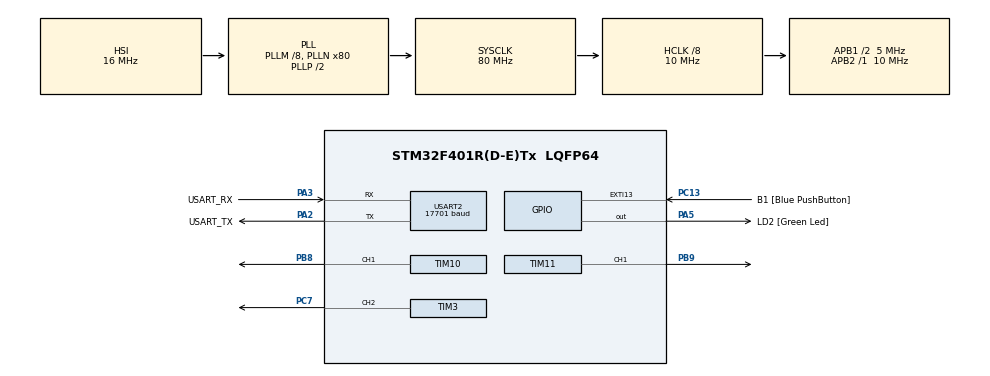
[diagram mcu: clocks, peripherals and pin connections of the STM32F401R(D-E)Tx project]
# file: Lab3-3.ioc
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Mcu.Family=STM32F4
Mcu.Name=STM32F401R(D-E)Tx
Mcu.Package=LQFP64
NVIC.EXTI15_10_IRQn=true\:0\:0\:true\:false\:true\:true\:true\:true
NVIC.PriorityGroup=NVIC_PRIORITYGROUP_0
NVIC.TIM1_TRG_COM_TIM11_IRQn=true\:0\:0\:false\:false\:true\:true\:true\:true
NVIC.TIM1_UP_TIM10_IRQn=true\:0\:0\:false\:false\:true\:true\:true\:true
NVIC.TIM3_IRQn=true\:0\:0\:true\:false\:true\:true\:true\:true
NVIC.USART2_IRQn=true\:0\:0\:true\:false\:true\:true\:true\:true
PA0-WKUP.Signal=S_TIM5_CH1
PA13.GPIO_Label=TMS
PA13.Mode=Serial_Wire
PA13.Signal=SYS_JTMS-SWDIO
PA14.GPIO_Label=TCK
PA14.Mode=Serial_Wire
PA14.Signal=SYS_JTCK-SWCLK
PA2.GPIO_Label=USART_TX
PA2.GPIO_Mode=GPIO_MODE_AF_PP
PA2.GPIO_PuPd=GPIO_NOPULL
PA2.GPIO_Speed=GPIO_SPEED_FREQ_LOW
PA2.Mode=Asynchronous
PA2.Signal=USART2_TX
PA3.GPIO_Label=USART_RX
PA3.GPIO_Mode=GPIO_MODE_AF_PP
PA3.GPIO_PuPd=GPIO_NOPULL
PA3.GPIO_Speed=GPIO_SPEED_FREQ_LOW
PA3.Mode=Asynchronous
PA3.Signal=USART2_RX
PA5.GPIO_Label=LD2 [Green Led]
PA5.GPIO_Mode=GPIO_MODE_OUTPUT_PP
PA5.GPIO_PuPd=GPIO_NOPULL
PA5.GPIO_Speed=GPIO_SPEED_FREQ_LOW
PA5.Signal=GPIO_Output
PB10.Signal=S_TIM2_CH3
PB3.GPIO_Label=SWO
PB3.Signal=SYS_JTDO-SWO
PB6.Signal=S_TIM4_CH1
PB8.Signal=S_TIM10_CH1
PB9.Signal=S_TIM11_CH1
PC13-ANTI_TAMP.GPIO_Label=B1 [Blue PushButton]
PC13-ANTI_TAMP.GPIO_ModeDefaultEXTI=GPIO_MODE_IT_FALLING
PC13-ANTI_TAMP.GPIO_PuPd=GPIO_NOPULL
PC13-ANTI_TAMP.Signal=GPXTI13
PC14-OSC32_IN.Mode=LSE-External-Oscillator
PC14-OSC32_IN.Signal=RCC_OSC32_IN
PC15-OSC32_OUT.Mode=LSE-External-Oscillator
PC15-OSC32_OUT.Signal=RCC_OSC32_OUT
PC7.Signal=S_TIM3_CH2
PH0\ -\ OSC_IN.Mode=HSE-External-Clock-Source
PH0\ -\ OSC_IN.Signal=RCC_OSC_IN
PH1\ -\ OSC_OUT.Mode=HSE-External-Clock-Source
PH1\ -\ OSC_OUT.Signal=RCC_OSC_OUT
ProjectManager.HeapSize=0x200
ProjectManager.StackSize=0x400
ProjectManager.TargetToolchain=STM32CubeIDE
RCC.48MHZClocksFreq_Value=22857142.85714286
RCC.AHBCLKDivider=RCC_SYSCLK_DIV8
RCC.AHBFreq_Value=10000000
RCC.APB1CLKDivider=RCC_HCLK_DIV2
RCC.APB1Freq_Value=5000000
RCC.APB1TimFreq_Value=10000000
RCC.APB2Freq_Value=10000000
RCC.APB2TimFreq_Value=10000000
RCC.CortexFreq_Value=10000000
RCC.HCLKFreq_Value=10000000
RCC.HSE_VALUE=8000000
RCC.HSI_VALUE=16000000
RCC.PLLM=8
RCC.PLLN=80
RCC.PLLQ=7
RCC.SYSCLKFreq_VALUE=80000000
RCC.SYSCLKSource=RCC_SYSCLKSOURCE_PLLCLK
RCC.VCOOutputFreq_Value=160000000
SH.S_TIM10_CH1.0=TIM10_CH1,Output Compare1 CH1
SH.S_TIM11_CH1.0=TIM11_CH1,Output Compare1 CH1
SH.S_TIM2_CH3.0=TIM2_CH3
SH.S_TIM3_CH2.0=TIM3_CH2,Output Compare2 CH2
SH.S_TIM4_CH1.0=TIM4_CH1
SH.S_TIM5_CH1.0=TIM5_CH1
TIM10.Channel=TIM_CHANNEL_1
TIM10.Period=9999
TIM10.Prescaler=999
TIM11.Channel=TIM_CHANNEL_1
TIM11.Period=4905
TIM11.Prescaler=999
TIM3.Channel-Output\ Compare2\ CH2=TIM_CHANNEL_2
TIM3.Period=5000
TIM3.Prescaler=1000-1
USART2.BaudRate=17701
USART2.VirtualMode=VM_ASYNC
VP_TIM10_VS_ClockSourceINT.Mode=Enable_Timer
VP_TIM11_VS_ClockSourceINT.Mode=Enable_Timer
VP_TIM3_VS_ClockSourceINT.Mode=Internal
board=NUCLEO-F401RE

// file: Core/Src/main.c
/* USER CODE BEGIN Header */
/**
  ******************************************************************************
  * @file           : main.c
  * @brief          : Main program body
  ******************************************************************************
  * @attention
  *
  * Copyright (c) 2024 STMicroelectronics.
  * All rights reserved.
  *
  * This software is licensed under terms that can be found in the LICENSE file
  * in the root directory of this software component.
  * If no LICENSE file comes with this software, it is provided AS-IS.
  *
  ******************************************************************************
  */
/* USER CODE END Header */
#include "main.h"

TIM_HandleTypeDef htim3;
TIM_HandleTypeDef htim10;
TIM_HandleTypeDef htim11;

UART_HandleTypeDef huart2;

void SystemClock_Config(void);
static void MX_GPIO_Init(void);
static void MX_USART2_UART_Init(void);
static void MX_TIM3_Init(void);
static void MX_TIM10_Init(void);
static void MX_TIM11_Init(void);

/* USER CODE BEGIN 0 */

int internalCount = 0;
int externalCount = 0;

void HAL_TIM_PeriodElapsedCallback(TIM_HandleTypeDef* htim) {
	if (htim == &htim3) {
		HAL_GPIO_TogglePin(GPIOA, GPIO_PIN_5);
		internalCount += 1;
	}
	else if (htim == &htim11) {
		HAL_GPIO_TogglePin(GPIOA, GPIO_PIN_13);
		externalCount += 1;
	}
	else if (htim == &htim10) {
		int currentTime = HAL_GetTick();
		  char buf[100];
		  sprintf(buf, "%d %d %d \r\n", currentTime, internalCount, externalCount);
		  HAL_UART_Transmit (&huart2, buf, strlen(buf), 10);
	}
}

/* USER CODE END 0 */

int main(void)
{

  /* MCU Configuration--------------------------------------------------------*/

  /* Reset of all peripherals, Initializes the Flash interface and the Systick. */
  HAL_Init();

  /* Configure the system clock */
  SystemClock_Config();

  /* Initialize all configured peripherals */
  MX_GPIO_Init();
  MX_USART2_UART_Init();
  MX_TIM3_Init();
  MX_TIM10_Init();
  MX_TIM11_Init();
  /* USER CODE BEGIN 2 */
  HAL_TIM_Base_Start_IT(&htim3);
  HAL_TIM_Base_Start_IT(&htim10);
  HAL_TIM_Base_Start_IT(&htim11);

  /* USER CODE END 2 */

  /* Infinite loop */
  while (1)
  {

  }
}

void SystemClock_Config(void)
{
  RCC_OscInitTypeDef RCC_OscInitStruct = {0};
  RCC_ClkInitTypeDef RCC_ClkInitStruct = {0};

  /** Configure the main internal regulator output voltage
  */
  __HAL_RCC_PWR_CLK_ENABLE();
  __HAL_PWR_VOLTAGESCALING_CONFIG(PWR_REGULATOR_VOLTAGE_SCALE2);

  /** Initializes the RCC Oscillators according to the specified parameters
  * in the RCC_OscInitTypeDef structure.
  */
  RCC_OscInitStruct.OscillatorType = RCC_OSCILLATORTYPE_HSI;
  RCC_OscInitStruct.HSIState = RCC_HSI_ON;
  RCC_OscInitStruct.HSICalibrationValue = RCC_HSICALIBRATION_DEFAULT;
  RCC_OscInitStruct.PLL.PLLState = RCC_PLL_ON;
  RCC_OscInitStruct.PLL.PLLSource = RCC_PLLSOURCE_HSI;
  RCC_OscInitStruct.PLL.PLLM = 8;
  RCC_OscInitStruct.PLL.PLLN = 80;
  RCC_OscInitStruct.PLL.PLLP = RCC_PLLP_DIV2;
  RCC_OscInitStruct.PLL.PLLQ = 7;
  if (HAL_RCC_OscConfig(&RCC_OscInitStruct) != HAL_OK)
  {
    Error_Handler();
  }

  /** Initializes the CPU, AHB and APB buses clocks
  */
  RCC_ClkInitStruct.ClockType = RCC_CLOCKTYPE_HCLK|RCC_CLOCKTYPE_SYSCLK
                              |RCC_CLOCKTYPE_PCLK1|RCC_CLOCKTYPE_PCLK2;
  RCC_ClkInitStruct.SYSCLKSource = RCC_SYSCLKSOURCE_PLLCLK;
  RCC_ClkInitStruct.AHBCLKDivider = RCC_SYSCLK_DIV8;
  RCC_ClkInitStruct.APB1CLKDivider = RCC_HCLK_DIV2;
  RCC_ClkInitStruct.APB2CLKDivider = RCC_HCLK_DIV1;

  if (HAL_RCC_ClockConfig(&RCC_ClkInitStruct, FLASH_LATENCY_0) != HAL_OK)
  {
    Error_Handler();
  }
}

static void MX_TIM3_Init(void)
{

  TIM_ClockConfigTypeDef sClockSourceConfig = {0};
  TIM_MasterConfigTypeDef sMasterConfig = {0};
  TIM_OC_InitTypeDef sConfigOC = {0};

  htim3.Instance = TIM3;
  htim3.Init.Prescaler = 1000-1;
  htim3.Init.CounterMode = TIM_COUNTERMODE_UP;
  htim3.Init.Period = 5000;
  htim3.Init.ClockDivision = TIM_CLOCKDIVISION_DIV1;
  htim3.Init.AutoReloadPreload = TIM_AUTORELOAD_PRELOAD_DISABLE;
  if (HAL_TIM_Base_Init(&htim3) != HAL_OK)
  {
    Error_Handler();
  }
  sClockSourceConfig.ClockSource = TIM_CLOCKSOURCE_INTERNAL;
  if (HAL_TIM_ConfigClockSource(&htim3, &sClockSourceConfig) != HAL_OK)
  {
    Error_Handler();
  }
  if (HAL_TIM_OC_Init(&htim3) != HAL_OK)
  {
    Error_Handler();
  }
  sMasterConfig.MasterOutputTrigger = TIM_TRGO_RESET;
  sMasterConfig.MasterSlaveMode = TIM_MASTERSLAVEMODE_DISABLE;
  if (HAL_TIMEx_MasterConfigSynchronization(&htim3, &sMasterConfig) != HAL_OK)
  {
    Error_Handler();
  }
  sConfigOC.OCMode = TIM_OCMODE_TIMING;
  sConfigOC.Pulse = 0;
  sConfigOC.OCPolarity = TIM_OCPOLARITY_HIGH;
  sConfigOC.OCFastMode = TIM_OCFAST_DISABLE;
  if (HAL_TIM_OC_ConfigChannel(&htim3, &sConfigOC, TIM_CHANNEL_2) != HAL_OK)
  {
    Error_Handler();
  }
  HAL_TIM_MspPostInit(&htim3);

}

static void MX_TIM10_Init(void)
{

  TIM_OC_InitTypeDef sConfigOC = {0};

  htim10.Instance = TIM10;
  htim10.Init.Prescaler = 999;
  htim10.Init.CounterMode = TIM_COUNTERMODE_UP;
  htim10.Init.Period = 9999;
  htim10.Init.ClockDivision = TIM_CLOCKDIVISION_DIV1;
  htim10.Init.AutoReloadPreload = TIM_AUTORELOAD_PRELOAD_DISABLE;
  if (HAL_TIM_Base_Init(&htim10) != HAL_OK)
  {
    Error_Handler();
  }
  if (HAL_TIM_OC_Init(&htim10) != HAL_OK)
  {
    Error_Handler();
  }
  sConfigOC.OCMode = TIM_OCMODE_TIMING;
  sConfigOC.Pulse = 0;
  sConfigOC.OCPolarity = TIM_OCPOLARITY_HIGH;
  sConfigOC.OCFastMode = TIM_OCFAST_DISABLE;
  if (HAL_TIM_OC_ConfigChannel(&htim10, &sConfigOC, TIM_CHANNEL_1) != HAL_OK)
  {
    Error_Handler();
  }
  HAL_TIM_MspPostInit(&htim10);

}

static void MX_TIM11_Init(void)
{

  TIM_OC_InitTypeDef sConfigOC = {0};

  htim11.Instance = TIM11;
  htim11.Init.Prescaler = 999;
  htim11.Init.CounterMode = TIM_COUNTERMODE_UP;
  htim11.Init.Period = 4905;
  htim11.Init.ClockDivision = TIM_CLOCKDIVISION_DIV1;
  htim11.Init.AutoReloadPreload = TIM_AUTORELOAD_PRELOAD_DISABLE;
  if (HAL_TIM_Base_Init(&htim11) != HAL_OK)
  {
    Error_Handler();
  }
  if (HAL_TIM_OC_Init(&htim11) != HAL_OK)
  {
    Error_Handler();
  }
  sConfigOC.OCMode = TIM_OCMODE_TIMING;
  sConfigOC.Pulse = 0;
  sConfigOC.OCPolarity = TIM_OCPOLARITY_HIGH;
  sConfigOC.OCFastMode = TIM_OCFAST_DISABLE;
  if (HAL_TIM_OC_ConfigChannel(&htim11, &sConfigOC, TIM_CHANNEL_1) != HAL_OK)
  {
    Error_Handler();
  }
  HAL_TIM_MspPostInit(&htim11);

}

static void MX_USART2_UART_Init(void)
{

  huart2.Instance = USART2;
  huart2.Init.BaudRate = 17701;
  huart2.Init.WordLength = UART_WORDLENGTH_8B;
  huart2.Init.StopBits = UART_STOPBITS_1;
  huart2.Init.Parity = UART_PARITY_NONE;
  huart2.Init.Mode = UART_MODE_TX_RX;
  huart2.Init.HwFlowCtl = UART_HWCONTROL_NONE;
  huart2.Init.OverSampling = UART_OVERSAMPLING_16;
  if (HAL_UART_Init(&huart2) != HAL_OK)
  {
    Error_Handler();
  }

}

static void MX_GPIO_Init(void)
{
  GPIO_InitTypeDef GPIO_InitStruct = {0};

  /* GPIO Ports Clock Enable */
  __HAL_RCC_GPIOC_CLK_ENABLE();
  __HAL_RCC_GPIOH_CLK_ENABLE();
  __HAL_RCC_GPIOA_CLK_ENABLE();
  __HAL_RCC_GPIOB_CLK_ENABLE();

  /*Configure GPIO pin Output Level */
  HAL_GPIO_WritePin(LD2_GPIO_Port, LD2_Pin, GPIO_PIN_RESET);

  /*Configure GPIO pin : B1_Pin */
  GPIO_InitStruct.Pin = B1_Pin;
  GPIO_InitStruct.Mode = GPIO_MODE_IT_FALLING;
  GPIO_InitStruct.Pull = GPIO_NOPULL;
  HAL_GPIO_Init(B1_GPIO_Port, &GPIO_InitStruct);

  /*Configure GPIO pin : PA0 */
  GPIO_InitStruct.Pin = GPIO_PIN_0;
  GPIO_InitStruct.Mode = GPIO_MODE_AF_PP;
  GPIO_InitStruct.Pull = GPIO_NOPULL;
  GPIO_InitStruct.Speed = GPIO_SPEED_FREQ_LOW;
  GPIO_InitStruct.Alternate = GPIO_AF2_TIM5;
  HAL_GPIO_Init(GPIOA, &GPIO_InitStruct);

  /*Configure GPIO pin : LD2_Pin */
  GPIO_InitStruct.Pin = LD2_Pin;
  GPIO_InitStruct.Mode = GPIO_MODE_OUTPUT_PP;
  GPIO_InitStruct.Pull = GPIO_NOPULL;
  GPIO_InitStruct.Speed = GPIO_SPEED_FREQ_LOW;
  HAL_GPIO_Init(LD2_GPIO_Port, &GPIO_InitStruct);

  /*Configure GPIO pin : PB10 */
  GPIO_InitStruct.Pin = GPIO_PIN_10;
  GPIO_InitStruct.Mode = GPIO_MODE_AF_PP;
  GPIO_InitStruct.Pull = GPIO_NOPULL;
  GPIO_InitStruct.Speed = GPIO_SPEED_FREQ_LOW;
  GPIO_InitStruct.Alternate = GPIO_AF1_TIM2;
  HAL_GPIO_Init(GPIOB, &GPIO_InitStruct);

  /*Configure GPIO pin : PB6 */
  GPIO_InitStruct.Pin = GPIO_PIN_6;
  GPIO_InitStruct.Mode = GPIO_MODE_AF_PP;
  GPIO_InitStruct.Pull = GPIO_NOPULL;
  GPIO_InitStruct.Speed = GPIO_SPEED_FREQ_LOW;
  GPIO_InitStruct.Alternate = GPIO_AF2_TIM4;
  HAL_GPIO_Init(GPIOB, &GPIO_InitStruct);

  /* EXTI interrupt init*/
  HAL_NVIC_SetPriority(EXTI15_10_IRQn, 0, 0);
  HAL_NVIC_EnableIRQ(EXTI15_10_IRQn);

}

void Error_Handler(void)
{
  __disable_irq();
  while (1)
  {
  }
}
